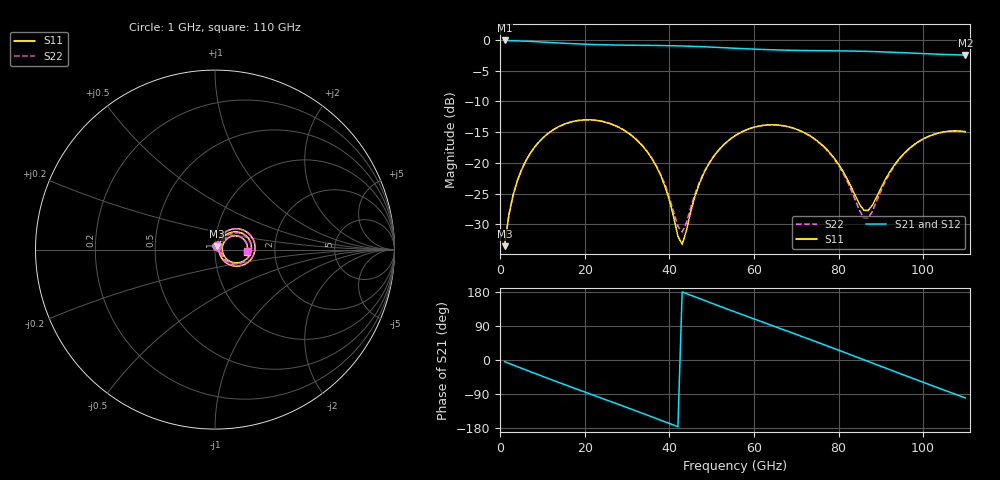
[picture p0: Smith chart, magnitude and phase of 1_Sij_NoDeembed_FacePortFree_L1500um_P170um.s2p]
! Touchstone file exported from HFSS 2024.2.0
!  File:  C:/Users/vaintrug/Documents/Ansoft_Workspace/Comparaison_Calculs_HFSS/1_VarPort.aedt
!  Generated:  03:22:16 PM Jan 21, 2025
!  Design:  1_NoDeembed_FacePortFree
!  Project:  1_VarPort
!  Setup:  Setup1
!  Solution:  Sweep
! Variables:
!  $Lenght = 1500um
!  $PortSize = 170um
!  Gap = 30um
!  Th = 2um
!  X_centralStrip = 20um
!  X_masse = 200um
!  Y_Sub = 1.5mm
!  Z_Box = 400um
!  Z_Sub = 200um
# GHz S MA R 50.000000
! Terminal data exported
! Port[1] = 1
! Port[2] = 2
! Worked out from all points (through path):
!   110 points, 1 GHz to 110 GHz, reference 50 ohm
!   highest |S21| = -0.10 dB at 1 GHz (marker M1); lowest = -2.5 dB at 110 GHz (marker M2)
!   group delay of S21, straight-line fit = 11.6 ps
!   lowest |S11| = -33.6 dB at 1 GHz (marker M3), VSWR 1.04, Z = 50.9 + j1.9 ohm
!   |S11| at or under -10 dB: start of sweep to end of sweep
!   |S22| runs from -33.6 to -13.0 dB; largest |S21 - S12| = 1.6e-14
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1  0.02099 62.9  0.9891 -4.4  0.9891 -4.4  0.02099 62.9
! Gamma 5.77653991860798 49.871964632821 5.83298089869528 49.9962219539307
! Port Impedance 50 0 50 0
3  0.05449 70.0  0.9841 -13.1  0.9841 -13.1  0.0545 70.1
7  0.1186 58.4  0.9713 -30.4  0.9713 -30.4  0.1186 58.5
14  0.1983 31.2  0.943 -59.9  0.943 -59.9  0.1984 31.4
20  0.2235 7.8  0.9224 -84.7  0.9224 -84.7  0.2238 8.3
25  0.2133 -11.1  0.9116 -105.1  0.9116 -105.1  0.2137 -10.5
31  0.167 -32.9  0.905 -129.7  0.905 -129.7  0.1678 -31.7
38  0.07778 -52.0  0.8993 -159.1  0.8993 -159.1  0.07962 -48.6
42  0.02527 -25.5  0.8936 -176.1  0.8936 -176.1  0.03039 -20.7
43  0.0217 8.4  0.8916 179.7  0.8916 179.7  0.02739 6.1
48  0.08053 56.5  0.8791 158.4  0.8791 158.4  0.08196 52.1
52  0.131 47.0  0.8665 141.6  0.8665 141.6  0.1316 44.0
56  0.17 34.0  0.8533 124.9  0.8533 124.9  0.1703 31.5
65  0.2035 2.9  0.8292 88.0  0.8292 88.0  0.2031 0.8
74  0.1595 -26.2  0.8181 51.0  0.8181 51.0  0.1584 -28.8
80  0.09728 -38.8  0.814 26.0  0.814 26.0  0.09503 -42.6
86  0.04111 -6.6  0.8071 0.5  0.8071 0.5  0.03542 -8.4
88  0.04525 22.8  0.8036 -8.0  0.8036 -8.0  0.04038 26.2
92  0.0832 42.0  0.7949 -25.0  0.7949 -25.0  0.08102 45.0
96  0.1243 37.3  0.7846 -41.9  0.7846 -41.9  0.1231 39.1
101  0.1625 24.0  0.7711 -62.9  0.7711 -62.9  0.162 25.1
110  0.1791 -3.8  0.7519 -100.2  0.7519 -100.2  0.179 -3.2
